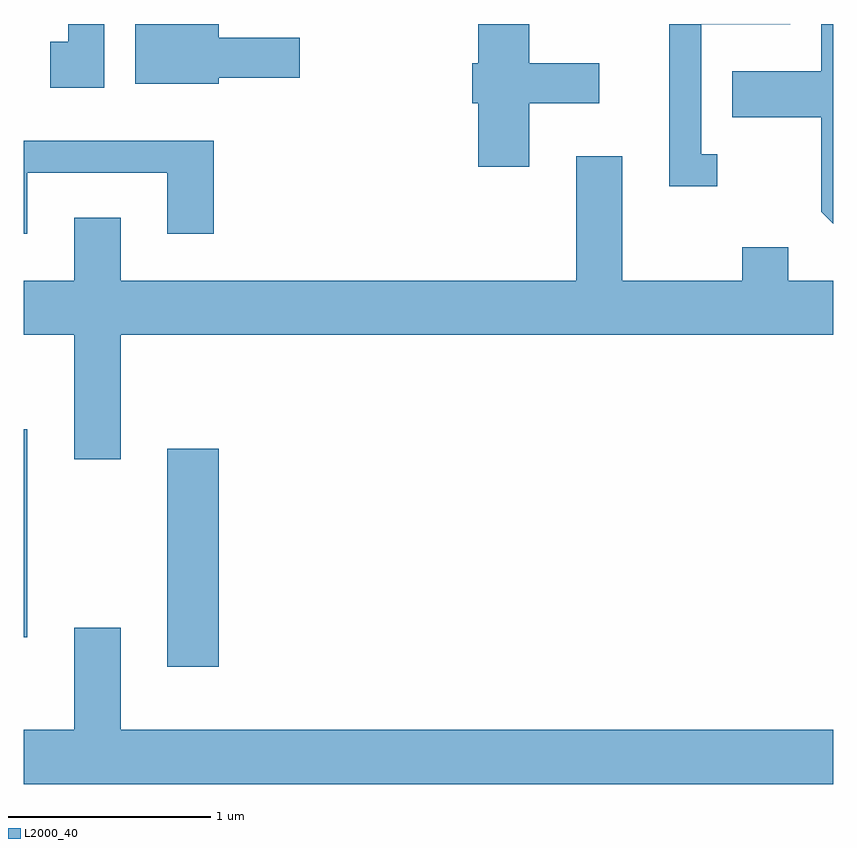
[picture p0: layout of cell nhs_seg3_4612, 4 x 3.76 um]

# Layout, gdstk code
import gdstk
lib = gdstk.Library(unit=1e-6, precision=1e-09)
def R(c, l, rs):  # rectangles x0, y0, x1, y1
    for r in rs: c.add(gdstk.rectangle(r[:2], r[2:], *l))
def P(c, l, *ps):  # polygons
    for p in ps: c.add(gdstk.Polygon(p, *l))
L2000_40 = (2000, 40)

nhs_seg3_4612 = lib.new_cell('nhs_seg3_4612')
R(nhs_seg3_4612, L2000_40, [(320.321,1228.716,320.574,1229.794), (319.611,1228.861,319.629,1229.889)])
P(nhs_seg3_4612, L2000_40, [(320.574,1231.626),(320.974,1231.626),(320.974,1231.824),(320.574,1231.824),(320.574,1231.892),(320.161,1231.892),(320.161,1231.596),(320.574,1231.596)],
  [(322.109,1231.501),(322.454,1231.501),(322.454,1231.699),(322.109,1231.699),(322.109,1231.892),(321.856,1231.892),(321.856,1231.699),(321.826,1231.699),(321.826,1231.501),(321.856,1231.501),(321.856,1231.186),(322.109,1231.186)],
  [(323.611,1231.892),(323.551,1231.892),(323.551,1231.659),(323.111,1231.659),(323.111,1231.431),(323.551,1231.431),(323.551,1230.964),(323.611,1230.904)],
  [(323.038,1231.249),(322.959,1231.249),(322.959,1231.891),(323.399,1231.891),(323.399,1231.892),(322.801,1231.892),(322.801,1231.091),(323.038,1231.091)],
  [(320.009,1231.892),(319.831,1231.892),(319.831,1231.804),(319.741,1231.804),(319.741,1231.576),(320.009,1231.576)],
  [(319.629,1231.156),(320.321,1231.156),(320.321,1230.856),(320.549,1230.856),(320.549,1231.314),(319.611,1231.314),(319.611,1230.856),(319.629,1230.856)],
  [(320.089,1230.356),(323.611,1230.356),(323.611,1230.624),(323.389,1230.624),(323.389,1230.789),(323.161,1230.789),(323.161,1230.624),(322.569,1230.624),(322.569,1231.239),(322.341,1231.239),(322.341,1230.624),(320.089,1230.624),(320.089,1230.934),(319.861,1230.934),(319.861,1230.624),(319.611,1230.624),(319.611,1230.356),(319.861,1230.356),(319.861,1229.741),(320.089,1229.741)],
  [(323.611,1228.404),(320.089,1228.404),(320.089,1228.909),(319.861,1228.909),(319.861,1228.404),(319.611,1228.404),(319.611,1228.136),(323.611,1228.136)])

lib.write_gds('nhs_seg3_4612.gds')
